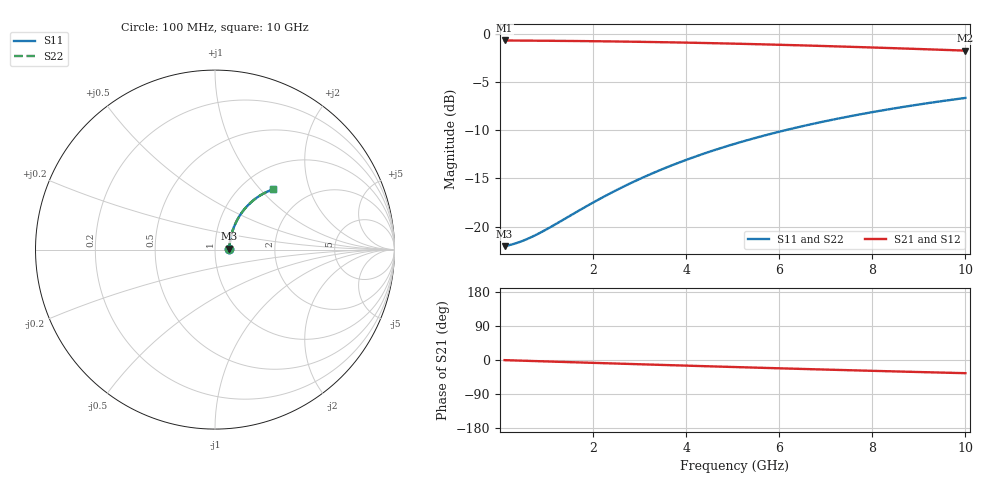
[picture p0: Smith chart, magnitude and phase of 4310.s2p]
# Hz S RI R 50.00
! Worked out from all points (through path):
!   100 points, 100 MHz to 10 GHz, reference 50 ohm
!   highest |S21| = -0.71 dB at 100 MHz (marker M1); lowest = -1.8 dB at 10 GHz (marker M2)
!   group delay of S21, straight-line fit = 9.7 ps
!   lowest |S11| = -22.0 dB at 100 MHz (marker M3), VSWR 1.17, Z = 58.6 + j0.564 ohm
!   |S11| at or under -10 dB: start of sweep to 6.146 GHz
!   |S22| runs from -22.0 to -6.7 dB; largest |S21 - S12| = 0
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1e8  0.079 0.00479  0.921 -0.00608  0.921 -0.00608  0.079 0.00479
3e8  0.0801 0.0143  0.9199 -0.0182  0.9199 -0.0182  0.0801 0.0143
4e8  0.0806 0.0191  0.9194 -0.0243  0.9194 -0.0243  0.0806 0.0191
5e8  0.0811 0.0238  0.9189 -0.0303  0.9189 -0.0303  0.0811 0.0238
7e8  0.0822 0.0333  0.9177 -0.0423  0.9177 -0.0423  0.0822 0.0333
9e8  0.0836 0.0427  0.9163 -0.0544  0.9163 -0.0544  0.0836 0.0427
1.1e9  0.0851 0.0521  0.9148 -0.0663  0.9148 -0.0663  0.0851 0.0521
1.8e9  0.0921 0.0845  0.9076 -0.1077  0.9076 -0.1077  0.0921 0.0845
2.2e9  0.0974 0.1026  0.9022 -0.131  0.9022 -0.131  0.0974 0.1026
2.6e9  0.1035 0.1202  0.8959 -0.1538  0.8959 -0.1538  0.1035 0.1202
3e9  0.1104 0.1375  0.8888 -0.1763  0.8888 -0.1763  0.1104 0.1375
3.4e9  0.1181 0.1543  0.8808 -0.1982  0.8808 -0.1982  0.1181 0.1543
3.8e9  0.1267 0.1705  0.8721 -0.2196  0.8721 -0.2196  0.1267 0.1705
4.2e9  0.1359 0.1862  0.8625 -0.2405  0.8625 -0.2405  0.1359 0.1862
4.6e9  0.1458 0.2012  0.8523 -0.2607  0.8523 -0.2607  0.1458 0.2012
5.1e9  0.1591 0.2191  0.8386 -0.2851  0.8386 -0.2851  0.1591 0.2191
5.9e9  0.1822 0.2455  0.8147 -0.322  0.8147 -0.322  0.1822 0.2455
6.7e9  0.2071 0.269  0.7889 -0.356  0.7889 -0.356  0.2071 0.269
7.5e9  0.2335 0.2896  0.7615 -0.387  0.7615 -0.387  0.2335 0.2896
8.4e9  0.2644 0.3092  0.7293 -0.4184  0.7293 -0.4184  0.2644 0.3092
9.2e9  0.2925 0.3234  0.6999 -0.4433  0.6999 -0.4433  0.2925 0.3234
1e10  0.321 0.3349  0.6701 -0.4654  0.6701 -0.4654  0.321 0.3349
